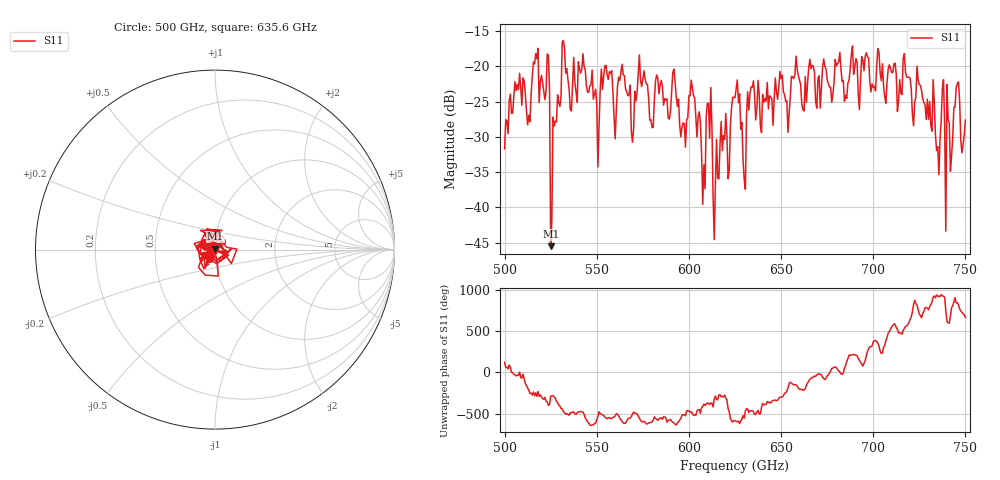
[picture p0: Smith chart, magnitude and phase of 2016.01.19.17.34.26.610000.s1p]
!Created with skrf (http://scikit-rf.org).
# GHz S RI R 50.0
!freq ReS11 ImS11
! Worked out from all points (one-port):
!   401 points, 500 GHz to 750 GHz, reference 50 ohm
!   lowest |S11| = -45.5 dB at 525 GHz (marker M1), VSWR 1.01, Z = 50.1 + j0.512 ohm
!   |S11| at or under -10 dB: start of sweep to end of sweep
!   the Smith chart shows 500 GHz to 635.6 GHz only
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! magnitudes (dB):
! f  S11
! 500 GHz  -31.7
! 506.9 GHz  -22.5
! 513.1 GHz  -26.9
! 516.9 GHz  -18.2
! 523.1 GHz  -18.3
! 525 GHz  -45.5
! 526.2 GHz  -27.2
! 531.2 GHz  -16.6
! 550 GHz  -25.5
! 562.5 GHz  -22.0
! 570 GHz  -28.8
! 574.4 GHz  -22.9
! 579.4 GHz  -27.6
! 593.8 GHz  -25.7
! 596.9 GHz  -28.0
! 601.9 GHz  -23.0
! 607.5 GHz  -39.6
! 611.2 GHz  -30.2
! 614.4 GHz  -36.7
! 625 GHz  -24.4
! 629.4 GHz  -33.3
! 634.4 GHz  -23.0
! 656.2 GHz  -21.5
! 687.5 GHz  -20.4
! 718.8 GHz  -21.6
! 735 GHz  -31.4
! 745.6 GHz  -22.5
! 750 GHz  -27.6
